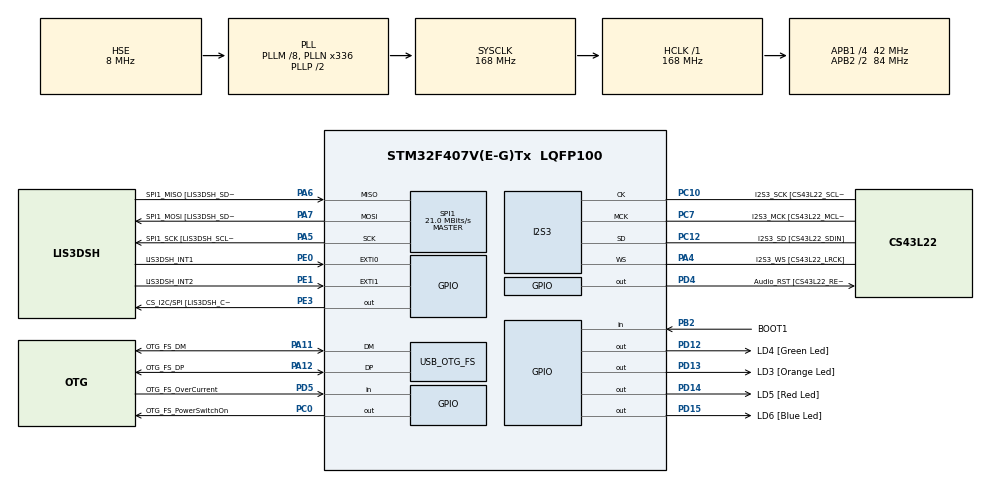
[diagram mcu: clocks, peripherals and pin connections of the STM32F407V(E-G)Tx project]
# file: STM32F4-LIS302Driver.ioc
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I2S3.AudioFreq-Half_Duplex_Master=I2S_AUDIOFREQ_96K
I2S3.ErrorAudioFreq=-2.34 %
I2S3.ErrorAudioFreq-Half_Duplex_Master=0.8 %
I2S3.FullDuplexMode=I2S_FULLDUPLEXMODE_DISABLE
I2S3.Instance=SPI$Index
I2S3.RealAudioFreq=93.75 KHz
I2S3.RealAudioFreq-Half_Duplex_Master=96.774 KHz
I2S3.VirtualMode=I2S_MODE_MASTER
Mcu.Family=STM32F4
Mcu.Name=STM32F407V(E-G)Tx
Mcu.Package=LQFP100
NVIC.EXTI0_IRQn=true\:0\:0\:false\:true\:true\:1\:true\:true\:true
NVIC.EXTI1_IRQn=true\:0\:0\:false\:false\:true\:true\:true\:true
NVIC.PriorityGroup=NVIC_PRIORITYGROUP_0
NVIC.RCC_IRQn=true\:0\:0\:false\:false\:true\:true\:false\:true
NVIC.SPI1_IRQn=true\:0\:0\:false\:false\:true\:true\:true\:true
PA10.GPIO_Label=OTG_FS_ID
PA10.GPIO_Mode=GPIO_MODE_AF_PP
PA10.GPIO_PuPd=GPIO_NOPULL
PA10.GPIO_Speed=GPIO_SPEED_FREQ_LOW
PA10.Signal=USB_OTG_FS_ID
PA11.GPIO_Label=OTG_FS_DM
PA11.GPIO_Mode=GPIO_MODE_AF_PP
PA11.GPIO_PuPd=GPIO_NOPULL
PA11.GPIO_Speed=GPIO_SPEED_FREQ_LOW
PA11.Mode=Host_Only
PA11.Signal=USB_OTG_FS_DM
PA12.GPIO_Label=OTG_FS_DP
PA12.GPIO_Mode=GPIO_MODE_AF_PP
PA12.GPIO_PuPd=GPIO_NOPULL
PA12.GPIO_Speed=GPIO_SPEED_FREQ_LOW
PA12.Mode=Host_Only
PA12.Signal=USB_OTG_FS_DP
PA13.GPIO_Label=SWDIO
PA13.Mode=Serial_Wire
PA13.Signal=SYS_JTMS-SWDIO
PA14.GPIO_Label=SWCLK
PA14.Mode=Serial_Wire
PA14.Signal=SYS_JTCK-SWCLK
PA4.GPIO_Label=I2S3_WS [CS43L22_LRCK]
PA4.GPIO_Mode=GPIO_MODE_AF_PP
PA4.GPIO_PuPd=GPIO_NOPULL
PA4.GPIO_Speed=GPIO_SPEED_FREQ_LOW
PA4.Mode=Half_Duplex_Master
PA4.Signal=I2S3_WS
PA5.GPIO_Label=SPI1_SCK [LIS3DSH_SCL/SPC]
PA5.GPIO_Mode=GPIO_MODE_AF_PP
PA5.GPIO_PuPd=GPIO_NOPULL
PA5.GPIO_Speed=GPIO_SPEED_FREQ_LOW
PA5.Mode=Full_Duplex_Master
PA5.Signal=SPI1_SCK
PA6.GPIO_Label=SPI1_MISO [LIS3DSH_SDO]
PA6.GPIO_Mode=GPIO_MODE_AF_PP
PA6.GPIO_PuPd=GPIO_NOPULL
PA6.GPIO_Speed=GPIO_SPEED_FREQ_LOW
PA6.Mode=Full_Duplex_Master
PA6.Signal=SPI1_MISO
PA7.GPIO_Label=SPI1_MOSI [LIS3DSH_SDA/SDI/SDO]
PA7.GPIO_Mode=GPIO_MODE_AF_PP
PA7.GPIO_PuPd=GPIO_NOPULL
PA7.GPIO_Speed=GPIO_SPEED_FREQ_LOW
PA7.Mode=Full_Duplex_Master
PA7.Signal=SPI1_MOSI
PA9.GPIO_Label=VBUS_FS
PA9.GPIO_Mode=GPIO_MODE_INPUT
PA9.GPIO_PuPd=GPIO_NOPULL
PA9.Signal=USB_OTG_FS_VBUS
PB10.GPIO_Label=CLK_IN [MP45DT02_CLK]
PB10.GPIO_Mode=GPIO_MODE_AF_PP
PB10.GPIO_PuPd=GPIO_NOPULL
PB10.GPIO_Speed=GPIO_SPEED_FREQ_LOW
PB10.Signal=I2S2_CK
PB2.GPIO_Label=BOOT1
PB2.GPIO_Mode=GPIO_MODE_INPUT
PB2.GPIO_PuPd=GPIO_NOPULL
PB2.Signal=GPIO_Input
PB3.GPIO_Label=SWO
PB3.Signal=SYS_JTDO-SWO
PB6.GPIO_Mode=GPIO_MODE_AF_OD
PB6.GPIO_Pu=GPIO_NOPULL
PB6.GPIO_PuPd=GPIO_NOPULL
PB6.GPIO_Speed=GPIO_SPEED_FREQ_VERY_HIGH
PB6.Signal=I2C1_SCL
PB9.GPIO_Mode=GPIO_MODE_AF_OD
PB9.GPIO_Pu=GPIO_NOPULL
PB9.GPIO_PuPd=GPIO_NOPULL
PB9.GPIO_Speed=GPIO_SPEED_FREQ_VERY_HIGH
PB9.Signal=I2C1_SDA
PC0.GPIO_Label=OTG_FS_PowerSwitchOn
PC0.GPIO_PuPd=GPIO_NOPULL
PC0.GPIO_Speed=GPIO_SPEED_FREQ_LOW
PC0.PinState=GPIO_PIN_SET
PC0.Signal=GPIO_Output
PC10.GPIO_Label=I2S3_SCK [CS43L22_SCLK]
PC10.GPIO_Mode=GPIO_MODE_AF_PP
PC10.GPIO_PuPd=GPIO_NOPULL
PC10.GPIO_Speed=GPIO_SPEED_FREQ_LOW
PC10.Mode=Half_Duplex_Master
PC10.Signal=I2S3_CK
PC12.GPIO_Label=I2S3_SD [CS43L22_SDIN]
PC12.GPIO_Mode=GPIO_MODE_AF_PP
PC12.GPIO_PuPd=GPIO_NOPULL
PC12.GPIO_Speed=GPIO_SPEED_FREQ_LOW
PC12.Mode=Half_Duplex_Master
PC12.Signal=I2S3_SD
PC14-OSC32_IN.GPIO_Label=PC14-OSC32_IN
PC14-OSC32_IN.Mode=LSE-External-Oscillator
PC14-OSC32_IN.Signal=RCC_OSC32_IN
PC15-OSC32_OUT.GPIO_Label=PC15-OSC32_OUT
PC15-OSC32_OUT.Mode=LSE-External-Oscillator
PC15-OSC32_OUT.Signal=RCC_OSC32_OUT
PC3.GPIO_Label=PDM_OUT [MP45DT02_DOUT]
PC3.GPIO_Mode=GPIO_MODE_AF_PP
PC3.GPIO_PuPd=GPIO_NOPULL
PC3.GPIO_Speed=GPIO_SPEED_FREQ_LOW
PC3.Signal=I2S2_SD
PC7.GPIO_Label=I2S3_MCK [CS43L22_MCLK]
PC7.GPIO_Mode=GPIO_MODE_AF_PP
PC7.GPIO_PuPd=GPIO_NOPULL
PC7.GPIO_Speed=GPIO_SPEED_FREQ_LOW
PC7.Mode=Master_Clock_Activated
PC7.Signal=I2S3_MCK
PD12.GPIO_Label=LD4 [Green Led]
PD12.GPIO_PuPd=GPIO_NOPULL
PD12.GPIO_Speed=GPIO_SPEED_FREQ_LOW
PD12.Signal=GPIO_Output
PD13.GPIO_Label=LD3 [Orange Led]
PD13.GPIO_PuPd=GPIO_NOPULL
PD13.GPIO_Speed=GPIO_SPEED_FREQ_LOW
PD13.Signal=GPIO_Output
PD14.GPIO_Label=LD5 [Red Led]
PD14.GPIO_PuPd=GPIO_NOPULL
PD14.GPIO_Speed=GPIO_SPEED_FREQ_LOW
PD14.Signal=GPIO_Output
PD15.GPIO_Label=LD6 [Blue Led]
PD15.GPIO_PuPd=GPIO_NOPULL
PD15.GPIO_Speed=GPIO_SPEED_FREQ_LOW
PD15.Signal=GPIO_Output
PD4.GPIO_Label=Audio_RST [CS43L22_RESET]
PD4.GPIO_PuPd=GPIO_NOPULL
PD4.GPIO_Speed=GPIO_SPEED_FREQ_LOW
PD4.Signal=GPIO_Output
PD5.GPIO_Label=OTG_FS_OverCurrent
PD5.GPIO_Mode=GPIO_MODE_INPUT
PD5.GPIO_PuPd=GPIO_NOPULL
PD5.Signal=GPIO_Input
PE0.GPIO_Label=LIS3DSH_INT1
PE0.GPIO_ModeDefaultEXTI=GPIO_MODE_IT_RISING_FALLING
PE0.Signal=GPXTI0
PE1.GPIO_Label=LIS3DSH_INT2
PE1.Signal=GPXTI1
PE3.GPIO_Label=CS_I2C/SPI [LIS3DSH_CS_I2C/SPI]
PE3.GPIO_PuPd=GPIO_NOPULL
PE3.GPIO_Speed=GPIO_SPEED_FREQ_LOW
PE3.Signal=GPIO_Output
PH0-OSC_IN.GPIO_Label=PH0-OSC_IN
PH0-OSC_IN.Mode=HSE-External-Oscillator
PH0-OSC_IN.Signal=RCC_OSC_IN
PH1-OSC_OUT.GPIO_Label=PH1-OSC_OUT
PH1-OSC_OUT.Mode=HSE-External-Oscillator
PH1-OSC_OUT.Signal=RCC_OSC_OUT
ProjectManager.HeapSize=0x200
ProjectManager.StackSize=0x400
ProjectManager.TargetToolchain=STM32CubeIDE
RCC.48MHZClocksFreq_Value=48000000
RCC.AHBFreq_Value=168000000
RCC.APB1CLKDivider=RCC_HCLK_DIV4
RCC.APB1Freq_Value=42000000
RCC.APB1TimFreq_Value=84000000
RCC.APB2CLKDivider=RCC_HCLK_DIV2
RCC.APB2Freq_Value=84000000
RCC.APB2TimFreq_Value=168000000
RCC.CortexFreq_Value=168000000
RCC.HCLKFreq_Value=168000000
RCC.HSE_VALUE=8000000
RCC.HSI_VALUE=16000000
RCC.PLLM=8
RCC.PLLN=336
RCC.PLLQ=7
RCC.SYSCLKFreq_VALUE=168000000
RCC.SYSCLKSource=RCC_SYSCLKSOURCE_PLLCLK
RCC.VCOOutputFreq_Value=336000000
SPI1.BaudRatePrescaler=SPI_BAUDRATEPRESCALER_4
SPI1.BaudRatePrescaler-Full_Duplex_Master=SPI_BAUDRATEPRESCALER_2
SPI1.CalculateBaudRate=21.0 MBits/s
SPI1.CalculateBaudRate-Full_Duplex_Master=42.0 MBits/s
SPI1.Direction=SPI_DIRECTION_2LINES
SPI1.Mode=SPI_MODE_MASTER
SPI1.Mode-Full_Duplex_Master=SPI_MODE_MASTER
SPI1.VirtualType=VM_MASTER
USB_OTG_FS.VirtualMode=Host_Only
USB_OTG_FS.phy_itface=HCD_PHY_EMBEDDED
board=STM32F407G-DISC1

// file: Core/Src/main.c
/* USER CODE BEGIN Header */
/**
  ******************************************************************************
  * @file           : main.c
  * @brief          : Main program body
  ******************************************************************************
  * @attention
  *
  * Copyright (c) 2024 STMicroelectronics.
  * All rights reserved.
  *
  * This software is licensed under terms that can be found in the LICENSE file
  * in the root directory of this software component.
  * If no LICENSE file comes with this software, it is provided AS-IS.
  *
  ******************************************************************************
  */
/* USER CODE END Header */
#include "main.h"

/* USER CODE BEGIN Includes */

#include"lis3dsh.h"
#include "filter.h"
#include "spi.h"
/* USER CODE END Includes */

I2S_HandleTypeDef hi2s3;

SPI_HandleTypeDef hspi1;

HCD_HandleTypeDef hhcd_USB_OTG_FS;

/* USER CODE BEGIN PV */

LIS3DSH_CALLBACK_T callback;

LIS3DSH_SENSOR_PARAM_T LIS3DSH_Sensor_1;

AverageFilterParam_T LIS3DSH_AverageFilter_X, LIS3DSH_AverageFilter_Y, LIS3DSH_AverageFilter_Z;

/* USER CODE END PV */

void SystemClock_Config(void);
static void MX_GPIO_Init(void);
static void MX_I2S3_Init(void);
static void MX_SPI1_Init(void);
static void MX_USB_OTG_FS_HCD_Init(void);
static void MX_NVIC_Init(void);

int main(void)
{

  /* MCU Configuration--------------------------------------------------------*/

  /* Reset of all peripherals, Initializes the Flash interface and the Systick. */
  HAL_Init();

  /* Configure the system clock */
  SystemClock_Config();

  /* Initialize all configured peripherals */
  MX_GPIO_Init();
  MX_I2S3_Init();
  MX_SPI1_Init();
  MX_USB_OTG_FS_HCD_Init();

  /* Initialize interrupts */
  MX_NVIC_Init();
  /* USER CODE BEGIN 2 */
  SPI_Init(&hspi1, SPI_NO_1, SPI_NODE_1 ,CS_I2C_SPI_GPIO_Port , CS_I2C_SPI_Pin);
  HAL_GPIO_WritePin(CS_I2C_SPI_GPIO_Port, CS_I2C_SPI_Pin, GPIO_PIN_SET);

  HAL_Delay(1000);
  LIS3DSH_Init(SPI_NO_1, SPI_NODE_1, &LIS3DSH_Sensor_1);

  LIS3DSH_Reg_Set_Ctrl3(&LIS3DSH_Sensor_1, INT1_DATA_READY_SIGNAL_ENABLE, INT_SIGNAL_ACTIVE_HIGH, INT_SIGNAL_PULSE, INT2_DISABLE, INT1_ENABLE, VECTOR_FILT_DISABLE, SOFT_RESET_DISABLE);
  LIS3DSH_Reg_Set_Ctrl4(&LIS3DSH_Sensor_1, DATARATE_HZ_3,DATA_CONT_UPDATE , AXIS_X_ENABLE, AXIS_Y_ENABLE, AXIS_Z_ENABLE);
  LIS3DSH_Reg_Set_Ctrl5(&LIS3DSH_Sensor_1, ANTIALIASING_FILTER_BANDWIDTH_HZ_50, SCALE_SELECT_2G,NORMAL_MODE , SPI_INTERFACE_4WIRE);
  LIS3DSH_Reg_Set_Ctrl6(&LIS3DSH_Sensor_1, BOOT_DISABLE, FIFO_DISABLE, FIFO_WATERMARK_LEVEL_DISABLE, REG_ADDR_AUTO_INCREMENT_DISABLE, FIFO_EMPTY_INDICATION_DISABLE, FIFO_WATERMARK_INT_DISABLE, FIFO_OVERRUN_INT_DISABLE, BOOT_INT_DISABLE);

  /* USER CODE END 2 */

  /* Infinite loop */
  while (1)
  {

    /* USER CODE BEGIN 3 */
/*
   if(LIS3DSH_Sensor_1.Interrupt.DataState == LIS3DSH_DATA_READY){
	   LIS3DSH_Read_Accmeter_Data(&LIS3DSH_Sensor_1);
       LIS3DSH_Read_Temperature_Data(&LIS3DSH_Sensor_1);
       LIS3DSH_Sensor_1.Interrupt.DataState = LIS3DSH_DATA_NOT_READY;
   }
*/
   LIS3DSH_Read_Accmeter_Data(&LIS3DSH_Sensor_1);
   LIS3DSH_Read_Temperature_Data(&LIS3DSH_Sensor_1);

   LIS3DSH_Sensor_1.Results.axis[AXIS_X].filtered = AverageFilter(&LIS3DSH_AverageFilter_X, LIS3DSH_Sensor_1.Results.axis[AXIS_X].raw, _LIS3DSH_FILTERSIZE);
   LIS3DSH_Sensor_1.Results.axis[AXIS_Y].filtered = AverageFilter(&LIS3DSH_AverageFilter_Y, LIS3DSH_Sensor_1.Results.axis[AXIS_Y].raw, _LIS3DSH_FILTERSIZE);
   LIS3DSH_Sensor_1.Results.axis[AXIS_Z].filtered = AverageFilter(&LIS3DSH_AverageFilter_Z, LIS3DSH_Sensor_1.Results.axis[AXIS_Z].raw, _LIS3DSH_FILTERSIZE);

   LIS3DSH_ConvertData(&LIS3DSH_Sensor_1, AXIS_X);
   LIS3DSH_ConvertData(&LIS3DSH_Sensor_1, AXIS_Y);
   LIS3DSH_ConvertData(&LIS3DSH_Sensor_1, AXIS_Z);

   if(LIS3DSH_Sensor_1.Results.axis[AXIS_X].CalcData >= 350){
	   if(LIS3DSH_Sensor_1.Results.axis[AXIS_X].sign == 1){
		   HAL_GPIO_WritePin(LD5_GPIO_Port, LD5_Pin, GPIO_PIN_SET);
		   HAL_GPIO_WritePin(LD4_GPIO_Port, LD4_Pin, GPIO_PIN_RESET);
	   }else{
		   HAL_GPIO_WritePin(LD4_GPIO_Port, LD4_Pin, GPIO_PIN_SET);
		   HAL_GPIO_WritePin(LD5_GPIO_Port, LD5_Pin, GPIO_PIN_RESET);
	   }
   }else{
	   HAL_GPIO_WritePin(LD5_GPIO_Port, LD5_Pin, GPIO_PIN_RESET);
	   HAL_GPIO_WritePin(LD4_GPIO_Port, LD4_Pin, GPIO_PIN_RESET);
   }

   if(LIS3DSH_Sensor_1.Results.axis[AXIS_Y].CalcData >= 350){
   	   if(LIS3DSH_Sensor_1.Results.axis[AXIS_Y].sign == 1){
   		   HAL_GPIO_WritePin(LD3_GPIO_Port, LD3_Pin, GPIO_PIN_SET);
   		   HAL_GPIO_WritePin(LD6_GPIO_Port, LD6_Pin, GPIO_PIN_RESET);
   	   }else{
   		   HAL_GPIO_WritePin(LD6_GPIO_Port, LD6_Pin, GPIO_PIN_SET);
   		   HAL_GPIO_WritePin(LD3_GPIO_Port, LD3_Pin, GPIO_PIN_RESET);
   	   }
   }else{
   	   HAL_GPIO_WritePin(LD3_GPIO_Port, LD3_Pin, GPIO_PIN_RESET);
   	   HAL_GPIO_WritePin(LD6_GPIO_Port, LD6_Pin, GPIO_PIN_RESET);
   }

  }
  /* USER CODE END 3 */
}

void SystemClock_Config(void)
{
  RCC_OscInitTypeDef RCC_OscInitStruct = {0};
  RCC_ClkInitTypeDef RCC_ClkInitStruct = {0};

  /** Configure the main internal regulator output voltage
  */
  __HAL_RCC_PWR_CLK_ENABLE();
  __HAL_PWR_VOLTAGESCALING_CONFIG(PWR_REGULATOR_VOLTAGE_SCALE1);

  /** Initializes the RCC Oscillators according to the specified parameters
  * in the RCC_OscInitTypeDef structure.
  */
  RCC_OscInitStruct.OscillatorType = RCC_OSCILLATORTYPE_HSE;
  RCC_OscInitStruct.HSEState = RCC_HSE_ON;
  RCC_OscInitStruct.PLL.PLLState = RCC_PLL_ON;
  RCC_OscInitStruct.PLL.PLLSource = RCC_PLLSOURCE_HSE;
  RCC_OscInitStruct.PLL.PLLM = 8;
  RCC_OscInitStruct.PLL.PLLN = 336;
  RCC_OscInitStruct.PLL.PLLP = RCC_PLLP_DIV2;
  RCC_OscInitStruct.PLL.PLLQ = 7;
  if (HAL_RCC_OscConfig(&RCC_OscInitStruct) != HAL_OK)
  {
    Error_Handler();
  }

  /** Initializes the CPU, AHB and APB buses clocks
  */
  RCC_ClkInitStruct.ClockType = RCC_CLOCKTYPE_HCLK|RCC_CLOCKTYPE_SYSCLK
                              |RCC_CLOCKTYPE_PCLK1|RCC_CLOCKTYPE_PCLK2;
  RCC_ClkInitStruct.SYSCLKSource = RCC_SYSCLKSOURCE_PLLCLK;
  RCC_ClkInitStruct.AHBCLKDivider = RCC_SYSCLK_DIV1;
  RCC_ClkInitStruct.APB1CLKDivider = RCC_HCLK_DIV4;
  RCC_ClkInitStruct.APB2CLKDivider = RCC_HCLK_DIV2;

  if (HAL_RCC_ClockConfig(&RCC_ClkInitStruct, FLASH_LATENCY_5) != HAL_OK)
  {
    Error_Handler();
  }
}

/**
  * @brief NVIC Configuration.
  * @retval None
  */
static void MX_NVIC_Init(void)
{
  /* EXTI0_IRQn interrupt configuration */
  HAL_NVIC_SetPriority(EXTI0_IRQn, 0, 0);
  HAL_NVIC_EnableIRQ(EXTI0_IRQn);
}

static void MX_I2S3_Init(void)
{

  hi2s3.Instance = SPI3;
  hi2s3.Init.Mode = I2S_MODE_MASTER_TX;
  hi2s3.Init.Standard = I2S_STANDARD_PHILIPS;
  hi2s3.Init.DataFormat = I2S_DATAFORMAT_16B;
  hi2s3.Init.MCLKOutput = I2S_MCLKOUTPUT_ENABLE;
  hi2s3.Init.AudioFreq = I2S_AUDIOFREQ_96K;
  hi2s3.Init.CPOL = I2S_CPOL_LOW;
  hi2s3.Init.ClockSource = I2S_CLOCK_PLL;
  hi2s3.Init.FullDuplexMode = I2S_FULLDUPLEXMODE_DISABLE;
  if (HAL_I2S_Init(&hi2s3) != HAL_OK)
  {
    Error_Handler();
  }

}

static void MX_SPI1_Init(void)
{

  /* SPI1 parameter configuration*/
  hspi1.Instance = SPI1;
  hspi1.Init.Mode = SPI_MODE_MASTER;
  hspi1.Init.Direction = SPI_DIRECTION_2LINES;
  hspi1.Init.DataSize = SPI_DATASIZE_8BIT;
  hspi1.Init.CLKPolarity = SPI_POLARITY_LOW;
  hspi1.Init.CLKPhase = SPI_PHASE_1EDGE;
  hspi1.Init.NSS = SPI_NSS_SOFT;
  hspi1.Init.BaudRatePrescaler = SPI_BAUDRATEPRESCALER_4;
  hspi1.Init.FirstBit = SPI_FIRSTBIT_MSB;
  hspi1.Init.TIMode = SPI_TIMODE_DISABLE;
  hspi1.Init.CRCCalculation = SPI_CRCCALCULATION_DISABLE;
  hspi1.Init.CRCPolynomial = 10;
  if (HAL_SPI_Init(&hspi1) != HAL_OK)
  {
    Error_Handler();
  }

}

static void MX_USB_OTG_FS_HCD_Init(void)
{

  hhcd_USB_OTG_FS.Instance = USB_OTG_FS;
  hhcd_USB_OTG_FS.Init.Host_channels = 8;
  hhcd_USB_OTG_FS.Init.speed = HCD_SPEED_FULL;
  hhcd_USB_OTG_FS.Init.dma_enable = DISABLE;
  hhcd_USB_OTG_FS.Init.phy_itface = HCD_PHY_EMBEDDED;
  hhcd_USB_OTG_FS.Init.Sof_enable = DISABLE;
  if (HAL_HCD_Init(&hhcd_USB_OTG_FS) != HAL_OK)
  {
    Error_Handler();
  }

}

static void MX_GPIO_Init(void)
{
  GPIO_InitTypeDef GPIO_InitStruct = {0};

  /* GPIO Ports Clock Enable */
  __HAL_RCC_GPIOE_CLK_ENABLE();
  __HAL_RCC_GPIOC_CLK_ENABLE();
  __HAL_RCC_GPIOH_CLK_ENABLE();
  __HAL_RCC_GPIOA_CLK_ENABLE();
  __HAL_RCC_GPIOB_CLK_ENABLE();
  __HAL_RCC_GPIOD_CLK_ENABLE();

  /*Configure GPIO pin Output Level */
  HAL_GPIO_WritePin(CS_I2C_SPI_GPIO_Port, CS_I2C_SPI_Pin, GPIO_PIN_RESET);

  /*Configure GPIO pin Output Level */
  HAL_GPIO_WritePin(OTG_FS_PowerSwitchOn_GPIO_Port, OTG_FS_PowerSwitchOn_Pin, GPIO_PIN_SET);

  /*Configure GPIO pin Output Level */
  HAL_GPIO_WritePin(GPIOD, LD4_Pin|LD3_Pin|LD5_Pin|LD6_Pin
                          |Audio_RST_Pin, GPIO_PIN_RESET);

  /*Configure GPIO pin : CS_I2C_SPI_Pin */
  GPIO_InitStruct.Pin = CS_I2C_SPI_Pin;
  GPIO_InitStruct.Mode = GPIO_MODE_OUTPUT_PP;
  GPIO_InitStruct.Pull = GPIO_NOPULL;
  GPIO_InitStruct.Speed = GPIO_SPEED_FREQ_LOW;
  HAL_GPIO_Init(CS_I2C_SPI_GPIO_Port, &GPIO_InitStruct);

  /*Configure GPIO pin : OTG_FS_PowerSwitchOn_Pin */
  GPIO_InitStruct.Pin = OTG_FS_PowerSwitchOn_Pin;
  GPIO_InitStruct.Mode = GPIO_MODE_OUTPUT_PP;
  GPIO_InitStruct.Pull = GPIO_NOPULL;
  GPIO_InitStruct.Speed = GPIO_SPEED_FREQ_LOW;
  HAL_GPIO_Init(OTG_FS_PowerSwitchOn_GPIO_Port, &GPIO_InitStruct);

  /*Configure GPIO pin : PDM_OUT_Pin */
  GPIO_InitStruct.Pin = PDM_OUT_Pin;
  GPIO_InitStruct.Mode = GPIO_MODE_AF_PP;
  GPIO_InitStruct.Pull = GPIO_NOPULL;
  GPIO_InitStruct.Speed = GPIO_SPEED_FREQ_LOW;
  GPIO_InitStruct.Alternate = GPIO_AF5_SPI2;
  HAL_GPIO_Init(PDM_OUT_GPIO_Port, &GPIO_InitStruct);

  /*Configure GPIO pin : BOOT1_Pin */
  GPIO_InitStruct.Pin = BOOT1_Pin;
  GPIO_InitStruct.Mode = GPIO_MODE_INPUT;
  GPIO_InitStruct.Pull = GPIO_NOPULL;
  HAL_GPIO_Init(BOOT1_GPIO_Port, &GPIO_InitStruct);

  /*Configure GPIO pin : CLK_IN_Pin */
  GPIO_InitStruct.Pin = CLK_IN_Pin;
  GPIO_InitStruct.Mode = GPIO_MODE_AF_PP;
  GPIO_InitStruct.Pull = GPIO_NOPULL;
  GPIO_InitStruct.Speed = GPIO_SPEED_FREQ_LOW;
  GPIO_InitStruct.Alternate = GPIO_AF5_SPI2;
  HAL_GPIO_Init(CLK_IN_GPIO_Port, &GPIO_InitStruct);

  /*Configure GPIO pins : LD4_Pin LD3_Pin LD5_Pin LD6_Pin
                           Audio_RST_Pin */
  GPIO_InitStruct.Pin = LD4_Pin|LD3_Pin|LD5_Pin|LD6_Pin
                          |Audio_RST_Pin;
  GPIO_InitStruct.Mode = GPIO_MODE_OUTPUT_PP;
  GPIO_InitStruct.Pull = GPIO_NOPULL;
  GPIO_InitStruct.Speed = GPIO_SPEED_FREQ_LOW;
  HAL_GPIO_Init(GPIOD, &GPIO_InitStruct);

  /*Configure GPIO pin : OTG_FS_OverCurrent_Pin */
  GPIO_InitStruct.Pin = OTG_FS_OverCurrent_Pin;
  GPIO_InitStruct.Mode = GPIO_MODE_INPUT;
  GPIO_InitStruct.Pull = GPIO_NOPULL;
  HAL_GPIO_Init(OTG_FS_OverCurrent_GPIO_Port, &GPIO_InitStruct);

  /*Configure GPIO pins : PB6 PB9 */
  GPIO_InitStruct.Pin = GPIO_PIN_6|GPIO_PIN_9;
  GPIO_InitStruct.Mode = GPIO_MODE_AF_OD;
  GPIO_InitStruct.Pull = GPIO_NOPULL;
  GPIO_InitStruct.Speed = GPIO_SPEED_FREQ_VERY_HIGH;
  GPIO_InitStruct.Alternate = GPIO_AF4_I2C1;
  HAL_GPIO_Init(GPIOB, &GPIO_InitStruct);

  /*Configure GPIO pin : LIS3DSH_INT1_Pin */
  GPIO_InitStruct.Pin = LIS3DSH_INT1_Pin;
  GPIO_InitStruct.Mode = GPIO_MODE_IT_RISING;
  GPIO_InitStruct.Pull = GPIO_NOPULL;
  HAL_GPIO_Init(LIS3DSH_INT1_GPIO_Port, &GPIO_InitStruct);

  /*Configure GPIO pin : LIS3DSH_INT2_Pin */
  GPIO_InitStruct.Pin = LIS3DSH_INT2_Pin;
  GPIO_InitStruct.Mode = GPIO_MODE_IT_RISING;
  GPIO_InitStruct.Pull = GPIO_NOPULL;
  HAL_GPIO_Init(LIS3DSH_INT2_GPIO_Port, &GPIO_InitStruct);

  /* EXTI interrupt init*/
  HAL_NVIC_SetPriority(EXTI1_IRQn, 0, 0);
  HAL_NVIC_EnableIRQ(EXTI1_IRQn);

}

/* USER CODE BEGIN 4 */
void HAL_GPIO_EXTI_Callback(uint16_t GPIO_Pin)
{
  /* Prevent unused argument(s) compilation warning */
  if(GPIO_Pin == GPIO_PIN_0){
	  LIS3DSH_Sensor_1.Interrupt.DataState = LIS3DSH_DATA_READY;
  }
  /* NOTE: This function Should not be modified, when the callback is needed,
           the HAL_GPIO_EXTI_Callback could be implemented in the user file
   */
}
/* USER CODE END 4 */

void Error_Handler(void)
{
  __disable_irq();
  while (1)
  {
  }
}
